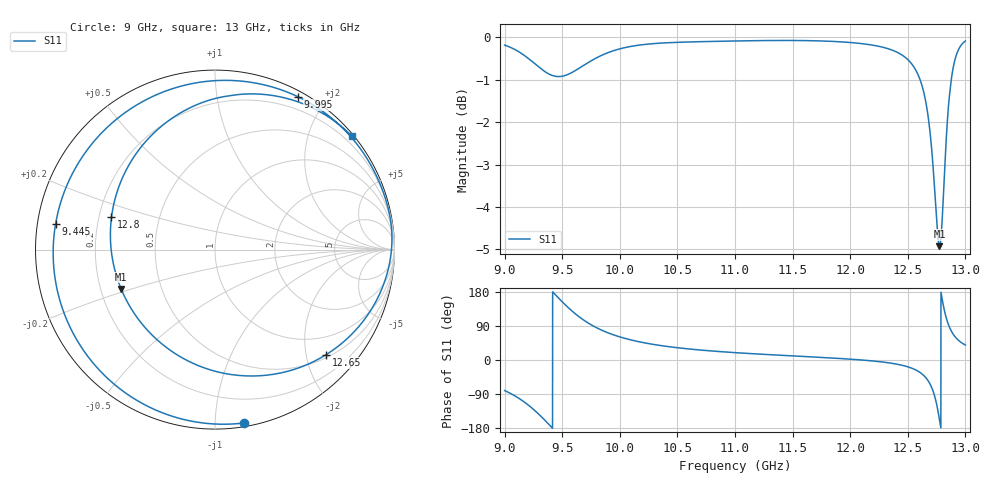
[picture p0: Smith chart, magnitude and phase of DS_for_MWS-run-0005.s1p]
! TOUCHSTONE file generated by CST DESIGN STUDIO
! Date and time: Tue Feb  4 16:27:45 2025
! Project name: C:\Work\MatlabApps\UnitCellOptimizationMatlab\CST\unitcell.cst
! Tree item: Tasks\Sweep1\SPara1\S-Parameters
! Header version: 2024
! Port assignment regex: !\s*Touchstone port\s*([0-9]+)\s*=\s*(CST MWS port|CST DES external port|CST DES block port)\s*(.+)\s* \(\"(.*)\"\)(\s*mode\s*([0-9]+))?.*
! Touchstone port assignment:
! Touchstone port 1 = CST DES external port 1 ("")
# GHz S MA R 50
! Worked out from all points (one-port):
!   4001 points, 9 GHz to 13 GHz, reference 50 ohm
!   lowest |S11| = -4.9 dB at 12.78 GHz (marker M1), VSWR 3.62, Z = 14.3 - j9.24 ohm
!   |S11| at or under -10 dB: nowhere
!   S11 on the Smith chart (normalised r, x): 9 GHz: 0.03, -1.18; 9.445 GHz: 0.05, +0.08; 9.995 GHz: 0.06, +1.68; 12.65 GHz: 0.56, -2.39; 12.8 GHz: 0.25, +0.14; 13 GHz: 0.04, +2.78
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9  0.9793 -80.6
9.125  0.9615 -101.4
9.226  0.9398 -123.9
9.347  0.9118 -158.1
9.445  0.8996 170.8
9.5  0.8999 153.6
9.597  0.911 126.2
9.698  0.929 103.0
9.843  0.9526 78.7
9.995  0.969 61.4
10  0.9694 61.0
10.215  0.9811 45.2
10.5  0.9867 32.4
11  0.9904 19.4
11.5  0.9917 10.8
12  0.9863 2.2
12.5  0.9416 -18.0
12.586  0.9056 -29.0
12.647  0.8516 -43.5
12.688  0.7842 -60.5
12.725  0.6869 -87.1
12.75  0.6092 -116.2
12.775  0.5671 -157.3
12.797  0.6042 162.6
12.83  0.7426 115.2
12.863  0.8571 85.7
12.923  0.9547 56.9
13  0.9903 39.5
